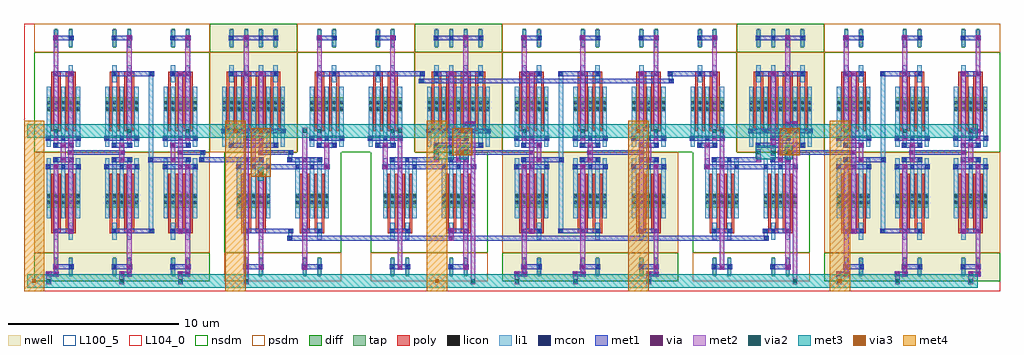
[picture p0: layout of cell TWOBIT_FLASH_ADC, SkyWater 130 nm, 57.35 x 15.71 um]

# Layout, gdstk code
import gdstk
lib = gdstk.Library(unit=1e-6, precision=1e-09)
def R(c, l, rs):  # rectangles x0, y0, x1, y1
    for r in rs: c.add(gdstk.rectangle(r[:2], r[2:], *l))
def A(c, l, x, y, w, h, nx, ny, dx, dy):  # array of equal rectangles
    R(c, l, [(x+i*dx, y+j*dy, x+i*dx+w, y+j*dy+h) for i in range(nx) for j in range(ny)])
nwell = (64, 20)
diff = (65, 20)
tap = (65, 44)
poly = (66, 20)
licon = (66, 44)
li1 = (67, 20)
mcon = (67, 44)
met1 = (68, 20)
via = (68, 44)
met2 = (69, 20)
via2 = (69, 44)
met3 = (70, 20)
via3 = (70, 44)
met4 = (71, 20)
nsdm = (93, 44)
psdm = (94, 20)
L100_5 = (100, 5)
L104_0 = (104, 0)

twobit_flash_adc = lib.new_cell('TWOBIT_FLASH_ADC')
A(twobit_flash_adc, nwell, 0, 0, 3.44, 7.56, 3, 1, 3.44, 0)
A(twobit_flash_adc, nwell, 27.52, 0, 3.44, 7.56, 3, 1, 3.44, 0)
A(twobit_flash_adc, nwell, 46.44, 0, 3.44, 7.56, 3, 1, 3.44, 0)
R(twobit_flash_adc, nwell, [(10.32,7.56,15.48,15.12), (22.36,7.56,27.52,15.12), (41.28,7.56,46.44,15.12)])
A(twobit_flash_adc, diff, 0.735, 4.305, 1.97, 0.84, 3, 2, 3.44, 5.67)
A(twobit_flash_adc, diff, 28.255, 4.305, 1.97, 0.84, 3, 1, 3.44, 0)
A(twobit_flash_adc, diff, 47.175, 4.305, 1.97, 0.84, 3, 2, 3.44, 5.67)
A(twobit_flash_adc, diff, 28.255, 9.975, 1.97, 0.84, 4, 1, 3.44, 0)
R(twobit_flash_adc, diff, [(11.915,4.305,13.885,5.145), (15.355,4.305,17.325,5.145), (20.515,4.305,22.485,5.145), (23.955,4.305,25.925,5.145), (39.435,4.305,41.405,5.145), (42.875,4.305,44.845,5.145), (11.055,9.975,14.745,10.815), (16.215,9.975,18.185,10.815), (19.655,9.975,21.625,10.815), (23.095,9.975,26.785,10.815), (42.015,9.975,45.705,10.815)])
A(twobit_flash_adc, tap, 11.525, 13.72, 0.17, 1.12, 4, 1, 0.86, 0)
A(twobit_flash_adc, tap, 23.565, 13.72, 0.17, 1.12, 4, 1, 0.86, 0)
A(twobit_flash_adc, tap, 42.485, 13.72, 0.17, 1.12, 4, 1, 0.86, 0)
R(twobit_flash_adc, tap, [(1.205,0.28,1.375,1.4), (2.065,0.28,2.235,1.4), (4.645,0.28,4.815,1.4), (5.505,0.28,5.675,1.4), (8.085,0.28,8.255,1.4), (8.945,0.28,9.115,1.4), (12.385,0.28,12.555,1.4), (13.245,0.28,13.415,1.4), (15.825,0.28,15.995,1.4), (16.685,0.28,16.855,1.4), (20.985,0.28,21.155,1.4), (21.845,0.28,22.015,1.4), (24.425,0.28,24.595,1.4), (25.285,0.28,25.455,1.4), (28.725,0.28,28.895,1.4), (29.585,0.28,29.755,1.4), (32.165,0.28,32.335,1.4), (33.025,0.28,33.195,1.4), (35.605,0.28,35.775,1.4), (36.465,0.28,36.635,1.4), (39.905,0.28,40.075,1.4), (40.765,0.28,40.935,1.4), (43.345,0.28,43.515,1.4), (44.205,0.28,44.375,1.4), (47.645,0.28,47.815,1.4), (48.505,0.28,48.675,1.4), (51.085,0.28,51.255,1.4), (51.945,0.28,52.115,1.4), (54.525,0.28,54.695,1.4), (55.385,0.28,55.555,1.4), (1.205,13.72,1.375,14.84), (2.065,13.72,2.235,14.84), (4.645,13.72,4.815,14.84), (5.505,13.72,5.675,14.84), (8.085,13.72,8.255,14.84), (8.945,13.72,9.115,14.84), (16.685,13.72,16.855,14.84), (17.545,13.72,17.715,14.84), (20.125,13.72,20.295,14.84), (20.985,13.72,21.155,14.84), (28.725,13.72,28.895,14.84), (29.585,13.72,29.755,14.84), (32.165,13.72,32.335,14.84), (33.025,13.72,33.195,14.84), (35.605,13.72,35.775,14.84), (36.465,13.72,36.635,14.84), (39.045,13.72,39.215,14.84), (39.905,13.72,40.075,14.84), (47.645,13.72,47.815,14.84), (48.505,13.72,48.675,14.84), (51.085,13.72,51.255,14.84), (51.945,13.72,52.115,14.84), (54.525,13.72,54.695,14.84), (55.385,13.72,55.555,14.84)])
A(twobit_flash_adc, poly, 1, 2.94, 0.15, 3.36, 4, 2, 0.43, 5.88)
A(twobit_flash_adc, poly, 4.44, 2.94, 0.15, 3.36, 4, 2, 0.43, 5.88)
A(twobit_flash_adc, poly, 7.88, 2.94, 0.15, 3.36, 4, 2, 0.43, 5.88)
A(twobit_flash_adc, poly, 12.18, 2.94, 0.15, 3.36, 4, 1, 0.43, 0)
A(twobit_flash_adc, poly, 15.62, 2.94, 0.15, 3.36, 4, 1, 0.43, 0)
A(twobit_flash_adc, poly, 20.78, 2.94, 0.15, 3.36, 4, 1, 0.43, 0)
A(twobit_flash_adc, poly, 24.22, 2.94, 0.15, 3.36, 4, 1, 0.43, 0)
A(twobit_flash_adc, poly, 28.52, 2.94, 0.15, 3.36, 4, 2, 0.43, 5.88)
A(twobit_flash_adc, poly, 31.96, 2.94, 0.15, 3.36, 4, 2, 0.43, 5.88)
A(twobit_flash_adc, poly, 35.4, 2.94, 0.15, 3.36, 4, 2, 0.43, 5.88)
A(twobit_flash_adc, poly, 39.7, 2.94, 0.15, 3.36, 4, 1, 0.43, 0)
A(twobit_flash_adc, poly, 43.14, 2.94, 0.15, 3.36, 4, 1, 0.43, 0)
A(twobit_flash_adc, poly, 47.44, 2.94, 0.15, 3.36, 4, 2, 0.43, 5.88)
A(twobit_flash_adc, poly, 50.88, 2.94, 0.15, 3.36, 4, 2, 0.43, 5.88)
A(twobit_flash_adc, poly, 54.32, 2.94, 0.15, 3.36, 4, 2, 0.43, 5.88)
A(twobit_flash_adc, poly, 11.32, 8.82, 0.15, 3.36, 8, 1, 0.43, 0)
A(twobit_flash_adc, poly, 16.48, 8.82, 0.15, 3.36, 4, 1, 0.43, 0)
A(twobit_flash_adc, poly, 19.92, 8.82, 0.15, 3.36, 4, 1, 0.43, 0)
A(twobit_flash_adc, poly, 23.36, 8.82, 0.15, 3.36, 8, 1, 0.43, 0)
A(twobit_flash_adc, poly, 38.84, 8.82, 0.15, 3.36, 4, 1, 0.43, 0)
A(twobit_flash_adc, poly, 42.28, 8.82, 0.15, 3.36, 8, 1, 0.43, 0)
A(twobit_flash_adc, poly, 11.32, 12.045, 0.58, 0.27, 4, 1, 0.86, 0)
A(twobit_flash_adc, poly, 23.36, 12.045, 0.58, 0.27, 4, 1, 0.86, 0)
A(twobit_flash_adc, poly, 42.28, 12.045, 0.58, 0.27, 4, 1, 0.86, 0)
R(twobit_flash_adc, poly, [(1,2.805,1.58,3.075), (1.86,2.805,2.44,3.075), (4.44,2.805,5.02,3.075), (5.3,2.805,5.88,3.075), (7.88,2.805,8.46,3.075), (8.74,2.805,9.32,3.075), (12.18,2.805,12.76,3.075), (13.04,2.805,13.62,3.075), (15.62,2.805,16.2,3.075), (16.48,2.805,17.06,3.075), (20.78,2.805,21.36,3.075), (21.64,2.805,22.22,3.075), (24.22,2.805,24.8,3.075), (25.08,2.805,25.66,3.075), (28.52,2.805,29.1,3.075), (29.38,2.805,29.96,3.075), (31.96,2.805,32.54,3.075), (32.82,2.805,33.4,3.075), (35.4,2.805,35.98,3.075), (36.26,2.805,36.84,3.075), (39.7,2.805,40.28,3.075), (40.56,2.805,41.14,3.075), (43.14,2.805,43.72,3.075), (44,2.805,44.58,3.075), (47.44,2.805,48.02,3.075), (48.3,2.805,48.88,3.075), (50.88,2.805,51.46,3.075), (51.74,2.805,52.32,3.075), (54.32,2.805,54.9,3.075), (55.18,2.805,55.76,3.075), (1,12.045,1.58,12.315), (1.86,12.045,2.44,12.315), (4.44,12.045,5.02,12.315), (5.3,12.045,5.88,12.315), (7.88,12.045,8.46,12.315), (8.74,12.045,9.32,12.315), (16.48,12.045,17.06,12.315), (17.34,12.045,17.92,12.315), (19.92,12.045,20.5,12.315), (20.78,12.045,21.36,12.315), (28.52,12.045,29.1,12.315), (29.38,12.045,29.96,12.315), (31.96,12.045,32.54,12.315), (32.82,12.045,33.4,12.315), (35.4,12.045,35.98,12.315), (36.26,12.045,36.84,12.315), (38.84,12.045,39.42,12.315), (39.7,12.045,40.28,12.315), (47.44,12.045,48.02,12.315), (48.3,12.045,48.88,12.315), (50.88,12.045,51.46,12.315), (51.74,12.045,52.32,12.315), (54.32,12.045,54.9,12.315), (55.18,12.045,55.76,12.315)])
A(twobit_flash_adc, licon, 0.775, 4.555, 0.17, 0.17, 3, 2, 0.43, 0.34)
A(twobit_flash_adc, licon, 1.635, 4.555, 0.17, 0.17, 3, 2, 0.43, 0.34)
A(twobit_flash_adc, licon, 4.215, 4.555, 0.17, 0.17, 3, 2, 0.43, 0.34)
A(twobit_flash_adc, licon, 5.075, 4.555, 0.17, 0.17, 3, 2, 0.43, 0.34)
A(twobit_flash_adc, licon, 7.655, 4.555, 0.17, 0.17, 3, 2, 0.43, 0.34)
A(twobit_flash_adc, licon, 8.515, 4.555, 0.17, 0.17, 3, 2, 0.43, 0.34)
A(twobit_flash_adc, licon, 11.955, 4.555, 0.17, 0.17, 3, 2, 0.43, 0.34)
A(twobit_flash_adc, licon, 12.815, 4.555, 0.17, 0.17, 3, 2, 0.43, 0.34)
A(twobit_flash_adc, licon, 15.395, 4.555, 0.17, 0.17, 3, 2, 0.43, 0.34)
A(twobit_flash_adc, licon, 16.255, 4.555, 0.17, 0.17, 3, 2, 0.43, 0.34)
A(twobit_flash_adc, licon, 20.555, 4.555, 0.17, 0.17, 3, 2, 0.43, 0.34)
A(twobit_flash_adc, licon, 21.415, 4.555, 0.17, 0.17, 3, 2, 0.43, 0.34)
A(twobit_flash_adc, licon, 23.995, 4.555, 0.17, 0.17, 3, 2, 0.43, 0.34)
A(twobit_flash_adc, licon, 24.855, 4.555, 0.17, 0.17, 3, 2, 0.43, 0.34)
A(twobit_flash_adc, licon, 28.295, 4.555, 0.17, 0.17, 3, 2, 0.43, 0.34)
A(twobit_flash_adc, licon, 29.155, 4.555, 0.17, 0.17, 3, 2, 0.43, 0.34)
A(twobit_flash_adc, licon, 31.735, 4.555, 0.17, 0.17, 3, 2, 0.43, 0.34)
A(twobit_flash_adc, licon, 32.595, 4.555, 0.17, 0.17, 3, 2, 0.43, 0.34)
A(twobit_flash_adc, licon, 35.175, 4.555, 0.17, 0.17, 3, 2, 0.43, 0.34)
A(twobit_flash_adc, licon, 36.035, 4.555, 0.17, 0.17, 3, 2, 0.43, 0.34)
A(twobit_flash_adc, licon, 39.475, 4.555, 0.17, 0.17, 3, 2, 0.43, 0.34)
A(twobit_flash_adc, licon, 40.335, 4.555, 0.17, 0.17, 3, 2, 0.43, 0.34)
A(twobit_flash_adc, licon, 42.915, 4.555, 0.17, 0.17, 3, 2, 0.43, 0.34)
A(twobit_flash_adc, licon, 43.775, 4.555, 0.17, 0.17, 3, 2, 0.43, 0.34)
A(twobit_flash_adc, licon, 47.215, 4.555, 0.17, 0.17, 3, 2, 0.43, 0.34)
A(twobit_flash_adc, licon, 48.075, 4.555, 0.17, 0.17, 3, 2, 0.43, 0.34)
A(twobit_flash_adc, licon, 50.655, 4.555, 0.17, 0.17, 3, 2, 0.43, 0.34)
A(twobit_flash_adc, licon, 51.515, 4.555, 0.17, 0.17, 3, 2, 0.43, 0.34)
A(twobit_flash_adc, licon, 54.095, 4.555, 0.17, 0.17, 3, 2, 0.43, 0.34)
A(twobit_flash_adc, licon, 54.955, 4.555, 0.17, 0.17, 3, 2, 0.43, 0.34)
A(twobit_flash_adc, licon, 0.775, 10.055, 0.17, 0.17, 3, 2, 0.43, 0.34)
A(twobit_flash_adc, licon, 1.635, 10.055, 0.17, 0.17, 3, 2, 0.43, 0.34)
A(twobit_flash_adc, licon, 4.215, 10.055, 0.17, 0.17, 3, 2, 0.43, 0.34)
A(twobit_flash_adc, licon, 5.075, 10.055, 0.17, 0.17, 3, 2, 0.43, 0.34)
A(twobit_flash_adc, licon, 7.655, 10.055, 0.17, 0.17, 3, 2, 0.43, 0.34)
A(twobit_flash_adc, licon, 8.515, 10.055, 0.17, 0.17, 3, 2, 0.43, 0.34)
A(twobit_flash_adc, licon, 11.095, 10.055, 0.17, 0.17, 3, 2, 0.43, 0.34)
A(twobit_flash_adc, licon, 11.955, 10.055, 0.17, 0.17, 3, 2, 0.43, 0.34)
A(twobit_flash_adc, licon, 12.815, 10.055, 0.17, 0.17, 3, 2, 0.43, 0.34)
A(twobit_flash_adc, licon, 13.675, 10.055, 0.17, 0.17, 3, 2, 0.43, 0.34)
A(twobit_flash_adc, licon, 16.255, 10.055, 0.17, 0.17, 3, 2, 0.43, 0.34)
A(twobit_flash_adc, licon, 17.115, 10.055, 0.17, 0.17, 3, 2, 0.43, 0.34)
A(twobit_flash_adc, licon, 19.695, 10.055, 0.17, 0.17, 3, 2, 0.43, 0.34)
A(twobit_flash_adc, licon, 20.555, 10.055, 0.17, 0.17, 3, 2, 0.43, 0.34)
A(twobit_flash_adc, licon, 23.135, 10.055, 0.17, 0.17, 3, 2, 0.43, 0.34)
A(twobit_flash_adc, licon, 23.995, 10.055, 0.17, 0.17, 3, 2, 0.43, 0.34)
A(twobit_flash_adc, licon, 24.855, 10.055, 0.17, 0.17, 3, 2, 0.43, 0.34)
A(twobit_flash_adc, licon, 25.715, 10.055, 0.17, 0.17, 3, 2, 0.43, 0.34)
A(twobit_flash_adc, licon, 28.295, 10.055, 0.17, 0.17, 3, 2, 0.43, 0.34)
A(twobit_flash_adc, licon, 29.155, 10.055, 0.17, 0.17, 3, 2, 0.43, 0.34)
A(twobit_flash_adc, licon, 31.735, 10.055, 0.17, 0.17, 3, 2, 0.43, 0.34)
A(twobit_flash_adc, licon, 32.595, 10.055, 0.17, 0.17, 3, 2, 0.43, 0.34)
A(twobit_flash_adc, licon, 35.175, 10.055, 0.17, 0.17, 3, 2, 0.43, 0.34)
A(twobit_flash_adc, licon, 36.035, 10.055, 0.17, 0.17, 3, 2, 0.43, 0.34)
A(twobit_flash_adc, licon, 38.615, 10.055, 0.17, 0.17, 3, 2, 0.43, 0.34)
A(twobit_flash_adc, licon, 39.475, 10.055, 0.17, 0.17, 3, 2, 0.43, 0.34)
A(twobit_flash_adc, licon, 42.055, 10.055, 0.17, 0.17, 3, 2, 0.43, 0.34)
A(twobit_flash_adc, licon, 42.915, 10.055, 0.17, 0.17, 3, 2, 0.43, 0.34)
A(twobit_flash_adc, licon, 43.775, 10.055, 0.17, 0.17, 3, 2, 0.43, 0.34)
A(twobit_flash_adc, licon, 44.635, 10.055, 0.17, 0.17, 3, 2, 0.43, 0.34)
A(twobit_flash_adc, licon, 47.215, 10.055, 0.17, 0.17, 3, 2, 0.43, 0.34)
A(twobit_flash_adc, licon, 48.075, 10.055, 0.17, 0.17, 3, 2, 0.43, 0.34)
A(twobit_flash_adc, licon, 50.655, 10.055, 0.17, 0.17, 3, 2, 0.43, 0.34)
A(twobit_flash_adc, licon, 51.515, 10.055, 0.17, 0.17, 3, 2, 0.43, 0.34)
A(twobit_flash_adc, licon, 54.095, 10.055, 0.17, 0.17, 3, 2, 0.43, 0.34)
A(twobit_flash_adc, licon, 54.955, 10.055, 0.17, 0.17, 3, 2, 0.43, 0.34)
A(twobit_flash_adc, licon, 11.525, 12.095, 0.17, 0.17, 4, 2, 0.86, 2.1)
A(twobit_flash_adc, licon, 23.565, 12.095, 0.17, 0.17, 4, 2, 0.86, 2.1)
A(twobit_flash_adc, licon, 42.485, 12.095, 0.17, 0.17, 4, 2, 0.86, 2.1)
R(twobit_flash_adc, licon, [(1.205,0.755,1.375,0.925), (2.065,0.755,2.235,0.925), (4.645,0.755,4.815,0.925), (5.505,0.755,5.675,0.925), (8.085,0.755,8.255,0.925), (8.945,0.755,9.115,0.925), (12.385,0.755,12.555,0.925), (13.245,0.755,13.415,0.925), (15.825,0.755,15.995,0.925), (16.685,0.755,16.855,0.925), (20.985,0.755,21.155,0.925), (21.845,0.755,22.015,0.925), (24.425,0.755,24.595,0.925), (25.285,0.755,25.455,0.925), (28.725,0.755,28.895,0.925), (29.585,0.755,29.755,0.925), (32.165,0.755,32.335,0.925), (33.025,0.755,33.195,0.925), (35.605,0.755,35.775,0.925), (36.465,0.755,36.635,0.925), (39.905,0.755,40.075,0.925), (40.765,0.755,40.935,0.925), (43.345,0.755,43.515,0.925), (44.205,0.755,44.375,0.925), (47.645,0.755,47.815,0.925), (48.505,0.755,48.675,0.925), (51.085,0.755,51.255,0.925), (51.945,0.755,52.115,0.925), (54.525,0.755,54.695,0.925), (55.385,0.755,55.555,0.925), (1.205,2.855,1.375,3.025), (2.065,2.855,2.235,3.025), (4.645,2.855,4.815,3.025), (5.505,2.855,5.675,3.025), (8.085,2.855,8.255,3.025), (8.945,2.855,9.115,3.025), (12.385,2.855,12.555,3.025), (13.245,2.855,13.415,3.025), (15.825,2.855,15.995,3.025), (16.685,2.855,16.855,3.025), (20.985,2.855,21.155,3.025), (21.845,2.855,22.015,3.025), (24.425,2.855,24.595,3.025), (25.285,2.855,25.455,3.025), (28.725,2.855,28.895,3.025), (29.585,2.855,29.755,3.025), (32.165,2.855,32.335,3.025), (33.025,2.855,33.195,3.025), (35.605,2.855,35.775,3.025), (36.465,2.855,36.635,3.025), (39.905,2.855,40.075,3.025), (40.765,2.855,40.935,3.025), (43.345,2.855,43.515,3.025), (44.205,2.855,44.375,3.025), (47.645,2.855,47.815,3.025), (48.505,2.855,48.675,3.025), (51.085,2.855,51.255,3.025), (51.945,2.855,52.115,3.025), (54.525,2.855,54.695,3.025), (55.385,2.855,55.555,3.025), (1.205,12.095,1.375,12.265), (2.065,12.095,2.235,12.265), (4.645,12.095,4.815,12.265), (5.505,12.095,5.675,12.265), (8.085,12.095,8.255,12.265), (8.945,12.095,9.115,12.265), (16.685,12.095,16.855,12.265), (17.545,12.095,17.715,12.265), (20.125,12.095,20.295,12.265), (20.985,12.095,21.155,12.265), (28.725,12.095,28.895,12.265), (29.585,12.095,29.755,12.265), (32.165,12.095,32.335,12.265), (33.025,12.095,33.195,12.265), (35.605,12.095,35.775,12.265), (36.465,12.095,36.635,12.265), (39.045,12.095,39.215,12.265), (39.905,12.095,40.075,12.265), (47.645,12.095,47.815,12.265), (48.505,12.095,48.675,12.265), (51.085,12.095,51.255,12.265), (51.945,12.095,52.115,12.265), (54.525,12.095,54.695,12.265), (55.385,12.095,55.555,12.265), (1.205,14.195,1.375,14.365), (2.065,14.195,2.235,14.365), (4.645,14.195,4.815,14.365), (5.505,14.195,5.675,14.365), (8.085,14.195,8.255,14.365), (8.945,14.195,9.115,14.365), (16.685,14.195,16.855,14.365), (17.545,14.195,17.715,14.365), (20.125,14.195,20.295,14.365), (20.985,14.195,21.155,14.365), (28.725,14.195,28.895,14.365), (29.585,14.195,29.755,14.365), (32.165,14.195,32.335,14.365), (33.025,14.195,33.195,14.365), (35.605,14.195,35.775,14.365), (36.465,14.195,36.635,14.365), (39.045,14.195,39.215,14.365), (39.905,14.195,40.075,14.365), (47.645,14.195,47.815,14.365), (48.505,14.195,48.675,14.365), (51.085,14.195,51.255,14.365), (51.945,14.195,52.115,14.365), (54.525,14.195,54.695,14.365), (55.385,14.195,55.555,14.365)])
A(twobit_flash_adc, li1, 0.735, 3.695, 0.25, 3.53, 5, 2, 0.43, 4.2)
A(twobit_flash_adc, li1, 4.175, 3.695, 0.25, 3.53, 5, 2, 0.43, 4.2)
A(twobit_flash_adc, li1, 7.615, 3.695, 0.25, 3.53, 5, 2, 0.43, 4.2)
A(twobit_flash_adc, li1, 11.915, 3.695, 0.25, 3.53, 5, 1, 0.43, 0)
A(twobit_flash_adc, li1, 15.355, 3.695, 0.25, 3.53, 5, 1, 0.43, 0)
A(twobit_flash_adc, li1, 20.515, 3.695, 0.25, 3.53, 5, 1, 0.43, 0)
A(twobit_flash_adc, li1, 23.955, 3.695, 0.25, 3.53, 5, 1, 0.43, 0)
A(twobit_flash_adc, li1, 28.255, 3.695, 0.25, 3.53, 5, 2, 0.43, 4.2)
A(twobit_flash_adc, li1, 31.695, 3.695, 0.25, 3.53, 5, 2, 0.43, 4.2)
A(twobit_flash_adc, li1, 35.135, 3.695, 0.25, 3.53, 5, 2, 0.43, 4.2)
A(twobit_flash_adc, li1, 39.435, 3.695, 0.25, 3.53, 5, 1, 0.43, 0)
A(twobit_flash_adc, li1, 42.875, 3.695, 0.25, 3.53, 5, 1, 0.43, 0)
A(twobit_flash_adc, li1, 47.175, 3.695, 0.25, 3.53, 5, 2, 0.43, 4.2)
A(twobit_flash_adc, li1, 50.615, 3.695, 0.25, 3.53, 5, 2, 0.43, 4.2)
A(twobit_flash_adc, li1, 54.055, 3.695, 0.25, 3.53, 5, 2, 0.43, 4.2)
A(twobit_flash_adc, li1, 11.055, 7.895, 0.25, 3.53, 9, 1, 0.43, 0)
A(twobit_flash_adc, li1, 16.215, 7.895, 0.25, 3.53, 5, 1, 0.43, 0)
A(twobit_flash_adc, li1, 19.655, 7.895, 0.25, 3.53, 5, 1, 0.43, 0)
A(twobit_flash_adc, li1, 23.095, 7.895, 0.25, 3.53, 9, 1, 0.43, 0)
A(twobit_flash_adc, li1, 38.575, 7.895, 0.25, 3.53, 5, 1, 0.43, 0)
A(twobit_flash_adc, li1, 42.015, 7.895, 0.25, 3.53, 9, 1, 0.43, 0)
A(twobit_flash_adc, li1, 11.485, 11.675, 0.25, 1.01, 4, 2, 0.86, 2.1)
A(twobit_flash_adc, li1, 23.525, 11.675, 0.25, 1.01, 4, 2, 0.86, 2.1)
A(twobit_flash_adc, li1, 42.445, 11.675, 0.25, 1.01, 4, 2, 0.86, 2.1)
R(twobit_flash_adc, li1, [(1.165,0.335,1.415,1.345), (2.025,0.335,2.275,1.345), (4.605,0.335,4.855,1.345), (5.465,0.335,5.715,1.345), (8.045,0.335,8.295,1.345), (8.905,0.335,9.155,1.345), (12.345,0.335,12.595,1.345), (13.205,0.335,13.455,1.345), (15.785,0.335,16.035,1.345), (16.645,0.335,16.895,1.345), (20.945,0.335,21.195,1.345), (21.805,0.335,22.055,1.345), (24.385,0.335,24.635,1.345), (25.245,0.335,25.495,1.345), (28.685,0.335,28.935,1.345), (29.545,0.335,29.795,1.345), (32.125,0.335,32.375,1.345), (32.985,0.335,33.235,1.345), (35.565,0.335,35.815,1.345), (36.425,0.335,36.675,1.345), (39.865,0.335,40.115,1.345), (40.725,0.335,40.975,1.345), (43.305,0.335,43.555,1.345), (44.165,0.335,44.415,1.345), (47.605,0.335,47.855,1.345), (48.465,0.335,48.715,1.345), (51.045,0.335,51.295,1.345), (51.905,0.335,52.155,1.345), (54.485,0.335,54.735,1.345), (55.345,0.335,55.595,1.345), (1.165,2.435,1.415,3.445), (2.025,2.435,2.275,3.445), (4.605,2.435,4.855,3.445), (5.465,2.435,5.715,3.445), (8.045,2.435,8.295,3.445), (8.905,2.435,9.155,3.445), (12.345,2.435,12.595,3.445), (13.205,2.435,13.455,3.445), (14.925,2.435,15.175,3.025), (15.785,2.435,16.035,3.445), (16.645,2.435,16.895,3.445), (20.945,2.435,21.195,3.445), (21.805,2.435,22.055,3.445), (24.385,2.435,24.635,3.445), (25.245,2.435,25.495,3.445), (28.685,2.435,28.935,3.445), (29.545,2.435,29.795,3.445), (32.125,2.435,32.375,3.445), (32.985,2.435,33.235,3.445), (35.565,2.435,35.815,3.445), (36.425,2.435,36.675,3.445), (39.865,2.435,40.115,3.445), (40.725,2.435,40.975,3.445), (42.875,2.435,43.125,3.025), (43.305,2.435,43.555,3.445), (44.165,2.435,44.415,3.445), (47.605,2.435,47.855,3.445), (48.465,2.435,48.715,3.445), (51.045,2.435,51.295,3.445), (51.905,2.435,52.155,3.445), (54.485,2.435,54.735,3.445), (55.345,2.435,55.595,3.445), (6.755,2.855,7.005,12.265), (30.835,2.855,31.085,12.265), (49.755,2.855,50.005,12.265), (9.765,7.055,10.015,7.645), (14.925,7.055,15.175,7.645), (1.165,11.675,1.415,12.685), (2.025,11.675,2.275,12.685), (4.605,11.675,4.855,12.685), (5.465,11.675,5.715,12.685), (8.045,11.675,8.295,12.685), (8.905,11.675,9.155,12.685), (16.645,11.675,16.895,12.685), (17.505,11.675,17.755,12.685), (20.085,11.675,20.335,12.685), (20.945,11.675,21.195,12.685), (22.665,11.675,22.915,12.265), (28.685,11.675,28.935,12.685), (29.545,11.675,29.795,12.685), (32.125,11.675,32.375,12.685), (32.985,11.675,33.235,12.685), (35.565,11.675,35.815,12.685), (36.425,11.675,36.675,12.685), (37.285,11.675,37.535,12.265), (39.005,11.675,39.255,12.685), (39.865,11.675,40.115,12.685), (47.605,11.675,47.855,12.685), (48.465,11.675,48.715,12.685), (51.045,11.675,51.295,12.685), (51.905,11.675,52.155,12.685), (54.485,11.675,54.735,12.685), (55.345,11.675,55.595,12.685), (1.165,13.775,1.415,14.785), (2.025,13.775,2.275,14.785), (4.605,13.775,4.855,14.785), (5.465,13.775,5.715,14.785), (8.045,13.775,8.295,14.785), (8.905,13.775,9.155,14.785), (16.645,13.775,16.895,14.785), (17.505,13.775,17.755,14.785), (20.085,13.775,20.335,14.785), (20.945,13.775,21.195,14.785), (28.685,13.775,28.935,14.785), (29.545,13.775,29.795,14.785), (32.125,13.775,32.375,14.785), (32.985,13.775,33.235,14.785), (35.565,13.775,35.815,14.785), (36.425,13.775,36.675,14.785), (39.005,13.775,39.255,14.785), (39.865,13.775,40.115,14.785), (47.605,13.775,47.855,14.785), (48.465,13.775,48.715,14.785), (51.045,13.775,51.295,14.785), (51.905,13.775,52.155,14.785), (54.485,13.775,54.735,14.785), (55.345,13.775,55.595,14.785)])
A(twobit_flash_adc, mcon, 5.505, 2.855, 0.17, 0.17, 3, 2, 1.29, 4.2)
A(twobit_flash_adc, mcon, 14.965, 2.855, 0.17, 0.17, 3, 2, 0.86, 4.2)
A(twobit_flash_adc, mcon, 29.585, 2.855, 0.17, 0.17, 3, 2, 1.29, 4.2)
A(twobit_flash_adc, mcon, 48.505, 2.855, 0.17, 0.17, 3, 2, 1.29, 4.2)
A(twobit_flash_adc, mcon, 0.775, 6.635, 0.17, 0.17, 3, 2, 0.86, 1.68)
A(twobit_flash_adc, mcon, 4.215, 6.635, 0.17, 0.17, 3, 2, 0.86, 1.68)
A(twobit_flash_adc, mcon, 7.655, 6.635, 0.17, 0.17, 3, 2, 0.86, 1.68)
A(twobit_flash_adc, mcon, 11.955, 6.635, 0.17, 0.17, 3, 1, 0.86, 0)
A(twobit_flash_adc, mcon, 15.395, 6.635, 0.17, 0.17, 3, 1, 0.86, 0)
A(twobit_flash_adc, mcon, 20.555, 6.635, 0.17, 0.17, 3, 1, 0.86, 0)
A(twobit_flash_adc, mcon, 23.995, 6.635, 0.17, 0.17, 3, 1, 0.86, 0)
A(twobit_flash_adc, mcon, 28.295, 6.635, 0.17, 0.17, 3, 2, 0.86, 1.68)
A(twobit_flash_adc, mcon, 31.735, 6.635, 0.17, 0.17, 3, 2, 0.86, 1.68)
A(twobit_flash_adc, mcon, 35.175, 6.635, 0.17, 0.17, 3, 2, 0.86, 1.68)
A(twobit_flash_adc, mcon, 39.475, 6.635, 0.17, 0.17, 3, 1, 0.86, 0)
A(twobit_flash_adc, mcon, 42.915, 6.635, 0.17, 0.17, 3, 1, 0.86, 0)
A(twobit_flash_adc, mcon, 47.215, 6.635, 0.17, 0.17, 3, 2, 0.86, 1.68)
A(twobit_flash_adc, mcon, 50.655, 6.635, 0.17, 0.17, 3, 2, 0.86, 1.68)
A(twobit_flash_adc, mcon, 54.095, 6.635, 0.17, 0.17, 3, 2, 0.86, 1.68)
A(twobit_flash_adc, mcon, 8.945, 7.895, 0.17, 0.17, 4, 1, 2.58, 0)
A(twobit_flash_adc, mcon, 20.985, 7.895, 0.17, 0.17, 4, 1, 2.58, 0)
A(twobit_flash_adc, mcon, 39.905, 7.895, 0.17, 0.17, 4, 1, 2.58, 0)
A(twobit_flash_adc, mcon, 16.255, 8.315, 0.17, 0.17, 3, 1, 0.86, 0)
A(twobit_flash_adc, mcon, 19.695, 8.315, 0.17, 0.17, 3, 1, 0.86, 0)
A(twobit_flash_adc, mcon, 38.615, 8.315, 0.17, 0.17, 3, 1, 0.86, 0)
A(twobit_flash_adc, mcon, 11.095, 8.735, 0.17, 0.17, 5, 1, 0.86, 0)
A(twobit_flash_adc, mcon, 23.135, 8.735, 0.17, 0.17, 5, 1, 0.86, 0)
A(twobit_flash_adc, mcon, 42.055, 8.735, 0.17, 0.17, 5, 1, 0.86, 0)
A(twobit_flash_adc, mcon, 5.505, 12.095, 0.17, 0.17, 3, 1, 1.29, 0)
A(twobit_flash_adc, mcon, 11.525, 12.095, 0.17, 0.17, 4, 2, 0.86, 2.1)
A(twobit_flash_adc, mcon, 22.705, 12.095, 0.17, 0.17, 5, 1, 0.86, 0)
A(twobit_flash_adc, mcon, 29.585, 12.095, 0.17, 0.17, 3, 1, 1.29, 0)
A(twobit_flash_adc, mcon, 35.605, 12.095, 0.17, 0.17, 3, 1, 0.86, 0)
A(twobit_flash_adc, mcon, 42.485, 12.095, 0.17, 0.17, 4, 2, 0.86, 2.1)
A(twobit_flash_adc, mcon, 48.505, 12.095, 0.17, 0.17, 3, 1, 1.29, 0)
A(twobit_flash_adc, mcon, 23.565, 14.195, 0.17, 0.17, 4, 1, 0.86, 0)
R(twobit_flash_adc, mcon, [(1.205,0.755,1.375,0.925), (2.065,0.755,2.235,0.925), (4.645,0.755,4.815,0.925), (5.505,0.755,5.675,0.925), (8.085,0.755,8.255,0.925), (8.945,0.755,9.115,0.925), (12.385,0.755,12.555,0.925), (13.245,0.755,13.415,0.925), (15.825,0.755,15.995,0.925), (16.685,0.755,16.855,0.925), (20.985,0.755,21.155,0.925), (21.845,0.755,22.015,0.925), (24.425,0.755,24.595,0.925), (25.285,0.755,25.455,0.925), (28.725,0.755,28.895,0.925), (29.585,0.755,29.755,0.925), (32.165,0.755,32.335,0.925), (33.025,0.755,33.195,0.925), (35.605,0.755,35.775,0.925), (36.465,0.755,36.635,0.925), (39.905,0.755,40.075,0.925), (40.765,0.755,40.935,0.925), (43.345,0.755,43.515,0.925), (44.205,0.755,44.375,0.925), (47.645,0.755,47.815,0.925), (48.505,0.755,48.675,0.925), (51.085,0.755,51.255,0.925), (51.945,0.755,52.115,0.925), (54.525,0.755,54.695,0.925), (55.385,0.755,55.555,0.925), (14.965,2.435,15.135,2.605), (42.915,2.435,43.085,2.605), (1.205,2.855,1.375,3.025), (2.065,2.855,2.235,3.025), (4.645,2.855,4.815,3.025), (8.945,2.855,9.115,3.025), (12.385,2.855,12.555,3.025), (13.245,2.855,13.415,3.025), (20.985,2.855,21.155,3.025), (21.845,2.855,22.015,3.025), (24.425,2.855,24.595,3.025), (25.285,2.855,25.455,3.025), (28.725,2.855,28.895,3.025), (33.025,2.855,33.195,3.025), (35.605,2.855,35.775,3.025), (36.465,2.855,36.635,3.025), (39.905,2.855,40.075,3.025), (40.765,2.855,40.935,3.025), (42.915,2.855,43.085,3.025), (43.345,2.855,43.515,3.025), (44.205,2.855,44.375,3.025), (47.645,2.855,47.815,3.025), (51.945,2.855,52.115,3.025), (54.525,2.855,54.695,3.025), (55.385,2.855,55.555,3.025), (1.205,7.055,1.375,7.225), (2.065,7.055,2.235,7.225), (4.645,7.055,4.815,7.225), (8.945,7.055,9.115,7.225), (9.805,7.055,9.975,7.225), (12.385,7.055,12.555,7.225), (13.245,7.055,13.415,7.225), (20.985,7.055,21.155,7.225), (21.845,7.055,22.015,7.225), (24.425,7.055,24.595,7.225), (25.285,7.055,25.455,7.225), (28.725,7.055,28.895,7.225), (33.025,7.055,33.195,7.225), (35.605,7.055,35.775,7.225), (36.465,7.055,36.635,7.225), (39.905,7.055,40.075,7.225), (40.765,7.055,40.935,7.225), (43.345,7.055,43.515,7.225), (44.205,7.055,44.375,7.225), (47.645,7.055,47.815,7.225), (51.945,7.055,52.115,7.225), (54.525,7.055,54.695,7.225), (55.385,7.055,55.555,7.225), (9.805,7.475,9.975,7.645), (14.965,7.475,15.135,7.645), (1.205,7.895,1.375,8.065), (2.065,7.895,2.235,8.065), (4.645,7.895,4.815,8.065), (5.505,7.895,5.675,8.065), (8.085,7.895,8.255,8.065), (17.545,7.895,17.715,8.065), (20.125,7.895,20.295,8.065), (29.585,7.895,29.755,8.065), (32.165,7.895,32.335,8.065), (33.025,7.895,33.195,8.065), (35.605,7.895,35.775,8.065), (36.465,7.895,36.635,8.065), (39.045,7.895,39.215,8.065), (48.505,7.895,48.675,8.065), (51.085,7.895,51.255,8.065), (51.945,7.895,52.115,8.065), (54.525,7.895,54.695,8.065), (55.385,7.895,55.555,8.065), (12.385,8.315,12.555,8.485), (13.245,8.315,13.415,8.485), (24.425,8.315,24.595,8.485), (25.285,8.315,25.455,8.485), (43.345,8.315,43.515,8.485), (44.205,8.315,44.375,8.485), (22.705,11.675,22.875,11.845), (37.325,11.675,37.495,11.845), (1.205,12.095,1.375,12.265), (2.065,12.095,2.235,12.265), (4.645,12.095,4.815,12.265), (8.945,12.095,9.115,12.265), (16.685,12.095,16.855,12.265), (17.545,12.095,17.715,12.265), (20.125,12.095,20.295,12.265), (20.985,12.095,21.155,12.265), (28.725,12.095,28.895,12.265), (33.025,12.095,33.195,12.265), (39.045,12.095,39.215,12.265), (39.905,12.095,40.075,12.265), (47.645,12.095,47.815,12.265), (51.945,12.095,52.115,12.265), (54.525,12.095,54.695,12.265), (55.385,12.095,55.555,12.265), (1.205,14.195,1.375,14.365), (2.065,14.195,2.235,14.365), (4.645,14.195,4.815,14.365), (5.505,14.195,5.675,14.365), (8.085,14.195,8.255,14.365), (8.945,14.195,9.115,14.365), (16.685,14.195,16.855,14.365), (17.545,14.195,17.715,14.365), (20.125,14.195,20.295,14.365), (20.985,14.195,21.155,14.365), (28.725,14.195,28.895,14.365), (29.585,14.195,29.755,14.365), (32.165,14.195,32.335,14.365), (33.025,14.195,33.195,14.365), (35.605,14.195,35.775,14.365), (36.465,14.195,36.635,14.365), (39.045,14.195,39.215,14.365), (39.905,14.195,40.075,14.365), (47.645,14.195,47.815,14.365), (48.505,14.195,48.675,14.365), (51.085,14.195,51.255,14.365), (51.945,14.195,52.115,14.365), (54.525,14.195,54.695,14.365), (55.385,14.195,55.555,14.365)])
A(twobit_flash_adc, met1, 1.12, 0.7, 1.2, 0.28, 3, 2, 3.44, 7.14)
A(twobit_flash_adc, met1, 28.64, 0.7, 1.2, 0.28, 3, 1, 3.44, 0)
A(twobit_flash_adc, met1, 47.56, 0.7, 1.2, 0.28, 3, 2, 3.44, 7.14)
A(twobit_flash_adc, met1, 0.69, 6.58, 2.06, 0.28, 3, 2, 3.44, 1.68)
A(twobit_flash_adc, met1, 28.21, 6.58, 2.06, 0.28, 3, 1, 3.44, 0)
A(twobit_flash_adc, met1, 47.13, 6.58, 2.06, 0.28, 3, 2, 3.44, 1.68)
A(twobit_flash_adc, met1, 35.52, 7, 1.2, 0.28, 3, 1, 7.74, 0)
A(twobit_flash_adc, met1, 28.64, 7.84, 1.2, 0.28, 4, 2, 3.44, 6.3)
A(twobit_flash_adc, met1, 28.21, 8.26, 2.06, 0.28, 4, 1, 3.44, 0)
A(twobit_flash_adc, met1, 1.12, 14.14, 1.2, 0.28, 3, 1, 3.44, 0)
A(twobit_flash_adc, met1, 47.56, 14.14, 1.2, 0.28, 3, 1, 3.44, 0)
R(twobit_flash_adc, met1, [(0.7,0.28,1.45,0.56), (5,0.28,5.75,0.56), (8.44,0.28,9.19,0.56), (28.22,0.28,28.97,0.56), (31.66,0.28,32.41,0.56), (35.96,0.28,36.71,0.56), (47.14,0.28,47.89,0.56), (50.58,0.28,51.33,0.56), (54.88,0.28,55.63,0.56), (12.3,0.7,13.5,0.98), (15.74,0.7,16.94,0.98), (20.9,0.7,22.1,0.98), (24.34,0.7,25.54,0.98), (39.82,0.7,41.02,0.98), (43.26,0.7,44.46,0.98), (14.88,2.38,43.17,2.66), (1.12,2.8,2.32,3.08), (4.56,2.8,7.05,3.08), (8,2.8,9.2,3.08), (12.3,2.8,15.22,3.08), (15.74,2.8,16.94,3.08), (20.9,2.8,22.1,3.08), (24.34,2.8,25.54,3.08), (28.64,2.8,29.84,3.08), (30.79,2.8,33.28,3.08), (35.52,2.8,36.72,3.08), (39.82,2.8,41.02,3.08), (42.83,2.8,44.46,3.08), (47.56,2.8,48.76,3.08), (49.71,2.8,52.2,3.08), (54.44,2.8,55.64,3.08), (11.87,6.58,17.37,6.86), (20.47,6.58,25.97,6.86), (39.39,6.58,44.89,6.86), (1.12,7,2.32,7.28), (4.56,7,5.76,7.28), (6.71,7,9.2,7.28), (9.72,7,13.5,7.28), (14.88,7,16.94,7.28), (20.9,7,23.81,7.28), (24.34,7,25.54,7.28), (28.64,7,31.13,7.28), (32.08,7,33.28,7.28), (39.82,7,42.73,7.28), (47.56,7,50.05,7.28), (54.44,7,55.64,7.28), (1.99,7.42,5.32,7.7), (8.44,7.42,10.06,7.7), (13.17,7.42,15.22,7.7), (24.78,7.42,29.4,7.7), (32.52,7.42,35.85,7.7), (43.7,7.42,48.32,7.7), (51.44,7.42,54.77,7.7), (11.44,7.84,14.36,8.12), (16.6,7.84,17.8,8.12), (20.04,7.84,21.24,8.12), (23.48,7.84,26.4,8.12), (42.4,7.84,45.32,8.12), (12.3,8.26,13.5,8.54), (16.17,8.26,18.23,8.54), (19.61,8.26,21.67,8.54), (24.34,8.26,25.54,8.54), (43.26,8.26,44.46,8.54), (11.01,8.68,14.79,8.96), (23.05,8.68,26.83,8.96), (41.97,8.68,45.75,8.96), (54.88,8.68,55.63,8.96), (25.21,9.1,25.96,9.38), (44.13,9.1,44.88,9.38), (22.62,11.62,37.58,11.9), (1.12,12.04,2.32,12.32), (4.56,12.04,7.05,12.32), (8,12.04,9.2,12.32), (11.44,12.04,14.36,12.32), (16.6,12.04,22.96,12.32), (23.48,12.04,26.4,12.32), (28.64,12.04,29.84,12.32), (30.79,12.04,33.28,12.32), (35.52,12.04,36.72,12.32), (37.24,12.04,40.16,12.32), (42.4,12.04,45.32,12.32), (47.56,12.04,48.76,12.32), (49.71,12.04,52.2,12.32), (54.44,12.04,55.64,12.32), (11.44,14.14,14.36,14.42), (16.6,14.14,17.8,14.42), (20.04,14.14,21.24,14.42), (23.48,14.14,26.4,14.42), (42.4,14.14,45.32,14.42)])
A(twobit_flash_adc, via, 25.295, 0.765, 0.15, 0.15, 3, 1, 3.44, 0)
A(twobit_flash_adc, via, 36.475, 0.765, 0.15, 0.15, 3, 1, 3.87, 0)
A(twobit_flash_adc, via, 2.075, 2.865, 0.15, 0.15, 1, 3, 0, 4.62)
A(twobit_flash_adc, via, 8.525, 2.865, 0.15, 0.15, 1, 3, 0, 4.62)
A(twobit_flash_adc, via, 29.165, 2.865, 0.15, 0.15, 1, 3, 0, 4.62)
A(twobit_flash_adc, via, 35.615, 2.865, 0.15, 0.15, 1, 3, 0, 4.62)
A(twobit_flash_adc, via, 48.085, 2.865, 0.15, 0.15, 1, 3, 0, 4.62)
A(twobit_flash_adc, via, 54.535, 2.865, 0.15, 0.15, 1, 3, 0, 4.62)
A(twobit_flash_adc, via, 5.085, 7.065, 0.15, 0.15, 1, 3, 0, 0.42)
A(twobit_flash_adc, via, 51.525, 7.065, 0.15, 0.15, 1, 3, 0, 0.42)
A(twobit_flash_adc, via, 54.965, 7.065, 0.15, 0.15, 1, 3, 0, 0.84)
A(twobit_flash_adc, via, 32.605, 7.905, 0.15, 0.15, 3, 1, 3.44, 0)
A(twobit_flash_adc, via, 8.955, 8.325, 0.15, 0.15, 3, 1, 3.87, 0)
A(twobit_flash_adc, via, 20.995, 8.325, 0.15, 0.15, 3, 1, 3.87, 0)
A(twobit_flash_adc, via, 39.915, 8.325, 0.15, 0.15, 3, 1, 3.87, 0)
A(twobit_flash_adc, via, 5.515, 14.205, 0.15, 0.15, 3, 1, 3.44, 0)
A(twobit_flash_adc, via, 16.695, 14.205, 0.15, 0.15, 3, 1, 4.3, 0)
A(twobit_flash_adc, via, 44.215, 14.205, 0.15, 0.15, 3, 1, 3.44, 0)
R(twobit_flash_adc, via, [(0.785,0.345,0.935,0.495), (1.215,0.345,1.365,0.495), (5.085,0.345,5.235,0.495), (5.515,0.345,5.665,0.495), (8.525,0.345,8.675,0.495), (8.955,0.345,9.105,0.495), (28.305,0.345,28.455,0.495), (28.735,0.345,28.885,0.495), (31.745,0.345,31.895,0.495), (32.175,0.345,32.325,0.495), (36.045,0.345,36.195,0.495), (36.475,0.345,36.625,0.495), (47.225,0.345,47.375,0.495), (47.655,0.345,47.805,0.495), (50.665,0.345,50.815,0.495), (51.095,0.345,51.245,0.495), (54.965,0.345,55.115,0.495), (55.395,0.345,55.545,0.495), (1.215,0.765,1.365,0.915), (5.515,0.765,5.665,0.915), (8.955,0.765,9.105,0.915), (13.255,0.765,13.405,0.915), (15.835,0.765,15.985,0.915), (21.425,0.765,21.575,0.915), (47.655,0.765,47.805,0.915), (51.095,0.765,51.245,0.915), (55.395,0.765,55.545,0.915), (24.435,2.445,24.585,2.595), (24.435,2.865,24.585,3.015), (1.215,6.645,1.365,6.795), (5.515,6.645,5.665,6.795), (8.955,6.645,9.105,6.795), (17.125,6.645,17.275,6.795), (20.565,6.645,20.715,6.795), (28.735,6.645,28.885,6.795), (32.175,6.645,32.325,6.795), (36.475,6.645,36.625,6.795), (39.485,6.645,39.635,6.795), (47.655,6.645,47.805,6.795), (51.095,6.645,51.245,6.795), (55.395,6.645,55.545,6.795), (1.645,7.065,1.795,7.215), (8.095,7.065,8.245,7.215), (12.825,7.065,12.975,7.215), (23.575,7.065,23.725,7.215), (24.865,7.065,25.015,7.215), (29.595,7.065,29.745,7.215), (32.605,7.065,32.755,7.215), (36.045,7.065,36.195,7.215), (42.495,7.065,42.645,7.215), (43.785,7.065,43.935,7.215), (48.515,7.065,48.665,7.215), (13.255,7.485,13.405,7.635), (24.865,7.485,25.015,7.635), (32.605,7.485,32.755,7.635), (43.785,7.485,43.935,7.635), (1.645,7.905,1.795,8.055), (8.095,7.905,8.245,8.055), (13.255,7.905,13.405,8.055), (17.125,7.905,17.275,8.055), (20.565,7.905,20.715,8.055), (24.435,7.905,24.585,8.055), (29.595,7.905,29.745,8.055), (43.355,7.905,43.505,8.055), (48.515,7.905,48.665,8.055), (1.215,8.325,1.365,8.475), (5.515,8.325,5.665,8.475), (32.175,8.325,32.325,8.475), (36.475,8.325,36.625,8.475), (51.095,8.325,51.245,8.475), (55.395,8.325,55.545,8.475), (12.395,8.745,12.545,8.895), (25.295,8.745,25.445,8.895), (44.215,8.745,44.365,8.895), (55.395,8.745,55.545,8.895), (25.295,9.165,25.445,9.315), (25.725,9.165,25.875,9.315), (44.215,9.165,44.365,9.315), (44.645,9.165,44.795,9.315), (13.255,12.105,13.405,12.255), (24.435,12.105,24.585,12.255), (43.355,12.105,43.505,12.255), (1.215,14.205,1.365,14.355), (28.735,14.205,28.885,14.355), (32.175,14.205,32.325,14.355), (36.475,14.205,36.625,14.355), (39.915,14.205,40.065,14.355), (55.395,14.205,55.545,14.355)])
R(twobit_flash_adc, met2, [(0.72,-0.185,1,0.58), (5.02,-0.185,5.3,0.58), (8.46,-0.185,8.74,0.58), (12.33,-0.185,12.61,14.44), (25.66,-0.185,25.94,9.4), (28.24,-0.185,28.52,0.58), (31.68,-0.185,31.96,0.58), (35.98,-0.185,36.26,0.58), (44.58,-0.185,44.86,9.4), (47.16,-0.185,47.44,0.58), (50.6,-0.185,50.88,0.58), (54.9,-0.185,55.18,0.58), (1.15,0.26,1.43,6.88), (5.45,0.26,5.73,6.88), (8.89,0.26,9.17,6.88), (28.67,0.26,28.95,6.88), (32.11,0.26,32.39,6.88), (36.41,0.26,36.69,6.88), (47.59,0.26,47.87,6.88), (51.03,0.26,51.31,6.88), (55.33,0.26,55.61,6.88), (13.19,0.68,13.47,6.485), (15.77,0.68,16.05,9.005), (21.36,0.68,21.64,9.005), (25.23,0.68,25.51,7.745), (40.28,0.68,40.56,9.005), (44.15,0.68,44.43,7.745), (24.37,2.36,24.65,3.1), (2.01,2.78,2.29,12.34), (8.46,2.78,8.74,12.34), (29.1,2.78,29.38,12.34), (35.55,2.78,35.83,12.34), (48.02,2.78,48.3,12.34), (54.47,2.78,54.75,12.34), (17.06,6.56,17.34,8.14), (20.5,6.56,20.78,8.14), (39.42,6.56,39.7,8.14), (1.58,6.98,1.86,8.14), (5.02,6.98,5.3,8.14), (8.03,6.98,8.31,8.14), (12.76,6.98,13.04,8.56), (23.51,6.98,23.79,7.745), (24.8,6.98,25.08,8.56), (29.53,6.98,29.81,8.14), (32.54,6.98,32.82,8.14), (35.98,6.98,36.26,8.14), (42.43,6.98,42.71,7.745), (43.72,6.98,44,8.56), (48.45,6.98,48.73,8.14), (51.46,6.98,51.74,8.14), (54.9,6.98,55.18,8.14), (24.37,7.375,24.65,12.34), (43.29,7.375,43.57,12.34), (13.19,7.4,13.47,12.34), (1.15,8.24,1.43,14.44), (5.45,8.24,5.73,14.44), (8.89,8.24,9.17,14.44), (16.63,8.24,16.91,14.44), (20.93,8.24,21.21,14.44), (28.67,8.24,28.95,14.44), (32.11,8.24,32.39,14.44), (36.41,8.24,36.69,14.44), (39.85,8.24,40.13,14.44), (47.59,8.24,47.87,14.44), (51.03,8.24,51.31,14.44), (55.33,8.24,55.61,14.44), (54.9,8.635,55.18,9.005), (25.23,8.66,25.51,14.44), (44.15,8.66,44.43,14.44)])
A(twobit_flash_adc, via2, 23.55, 7.46, 0.2, 0.2, 3, 1, 0.86, 0)
A(twobit_flash_adc, via2, 42.47, 7.46, 0.2, 0.2, 3, 1, 0.86, 0)
R(twobit_flash_adc, via2, [(0.76,-0.1,0.96,0.1), (5.06,-0.1,5.26,0.1), (8.5,-0.1,8.7,0.1), (12.37,-0.1,12.57,0.1), (25.7,-0.1,25.9,0.1), (28.28,-0.1,28.48,0.1), (31.72,-0.1,31.92,0.1), (36.02,-0.1,36.22,0.1), (44.62,-0.1,44.82,0.1), (47.2,-0.1,47.4,0.1), (50.64,-0.1,50.84,0.1), (54.94,-0.1,55.14,0.1), (13.23,6.2,13.43,6.4), (1.19,8.72,1.39,8.92), (5.49,8.72,5.69,8.92), (8.93,8.72,9.13,8.92), (15.81,8.72,16.01,8.92), (16.67,8.72,16.87,8.92), (20.97,8.72,21.17,8.92), (21.4,8.72,21.6,8.92), (28.71,8.72,28.91,8.92), (32.15,8.72,32.35,8.92), (36.45,8.72,36.65,8.92), (39.89,8.72,40.09,8.92), (40.32,8.72,40.52,8.92), (47.63,8.72,47.83,8.92), (51.07,8.72,51.27,8.92), (54.94,8.72,55.14,8.92)])
R(twobit_flash_adc, met3, [(-0.4,-0.4,55.44,0.4), (13.155,5.9,13.495,6.7), (23.485,7.16,24.675,7.96), (24.995,7.16,25.535,7.96), (42.405,7.16,43.595,7.96), (44.125,7.16,44.565,7.96), (-0.4,8.42,55.44,9.22)])
A(twobit_flash_adc, via3, -0.1, -0.1, 0.2, 0.2, 3, 1, 23.68, 0)
R(twobit_flash_adc, via3, [(13.22,6.2,13.42,6.4), (25.06,7.46,25.26,7.66), (44.3,7.46,44.5,7.66), (11.74,8.72,11.94,8.92), (13.22,8.72,13.42,8.92), (25.06,8.72,25.26,8.92), (35.42,8.72,35.62,8.92), (44.3,8.72,44.5,8.92)])
A(twobit_flash_adc, met4, -0.59, -0.59, 1.18, 10, 5, 1, 11.84, 0)
R(twobit_flash_adc, met4, [(12.73,6.135,13.91,8.985), (24.57,7.395,25.75,8.985), (43.81,7.395,44.99,8.985)])
A(twobit_flash_adc, nsdm, 0, 0, 3.44, 1.68, 3, 1, 3.44, 0)
A(twobit_flash_adc, nsdm, 27.52, 0, 3.44, 1.68, 3, 1, 3.44, 0)
A(twobit_flash_adc, nsdm, 46.44, 0, 3.44, 1.68, 3, 1, 3.44, 0)
A(twobit_flash_adc, nsdm, 0, 7.56, 3.44, 5.88, 3, 1, 3.44, 0)
A(twobit_flash_adc, nsdm, 27.52, 7.56, 3.44, 5.88, 4, 1, 3.44, 0)
A(twobit_flash_adc, nsdm, 46.44, 7.56, 3.44, 5.88, 3, 1, 3.44, 0)
R(twobit_flash_adc, nsdm, [(11.18,1.68,14.62,7.56), (14.62,1.68,18.06,7.56), (19.78,1.68,23.22,7.56), (23.22,1.68,26.66,7.56), (38.7,1.68,42.14,7.56), (42.14,1.68,45.58,7.56), (15.48,7.56,18.92,13.44), (18.92,7.56,22.36,13.44), (10.32,13.44,15.48,15.12), (22.36,13.44,27.52,15.12), (41.28,13.44,46.44,15.12)])
A(twobit_flash_adc, psdm, 0, 1.68, 3.44, 5.88, 3, 1, 3.44, 0)
A(twobit_flash_adc, psdm, 27.52, 1.68, 3.44, 5.88, 3, 1, 3.44, 0)
A(twobit_flash_adc, psdm, 46.44, 1.68, 3.44, 5.88, 3, 1, 3.44, 0)
A(twobit_flash_adc, psdm, 0, 13.44, 3.44, 1.68, 3, 1, 3.44, 0)
A(twobit_flash_adc, psdm, 27.52, 13.44, 3.44, 1.68, 4, 1, 3.44, 0)
A(twobit_flash_adc, psdm, 46.44, 13.44, 3.44, 1.68, 3, 1, 3.44, 0)
R(twobit_flash_adc, psdm, [(11.18,0,14.62,1.68), (14.62,0,18.06,1.68), (19.78,0,23.22,1.68), (23.22,0,26.66,1.68), (38.7,0,42.14,1.68), (42.14,0,45.58,1.68), (10.32,7.56,15.48,13.44), (22.36,7.56,27.52,13.44), (41.28,7.56,46.44,13.44), (15.48,13.44,18.92,15.12), (18.92,13.44,22.36,15.12)])
R(twobit_flash_adc, L100_5, [(-0.59,-0.59,56.76,15.12)])
R(twobit_flash_adc, L104_0, [(-0.59,-0.59,56.76,15.12)])

lib.write_gds('TWOBIT_FLASH_ADC.gds')
